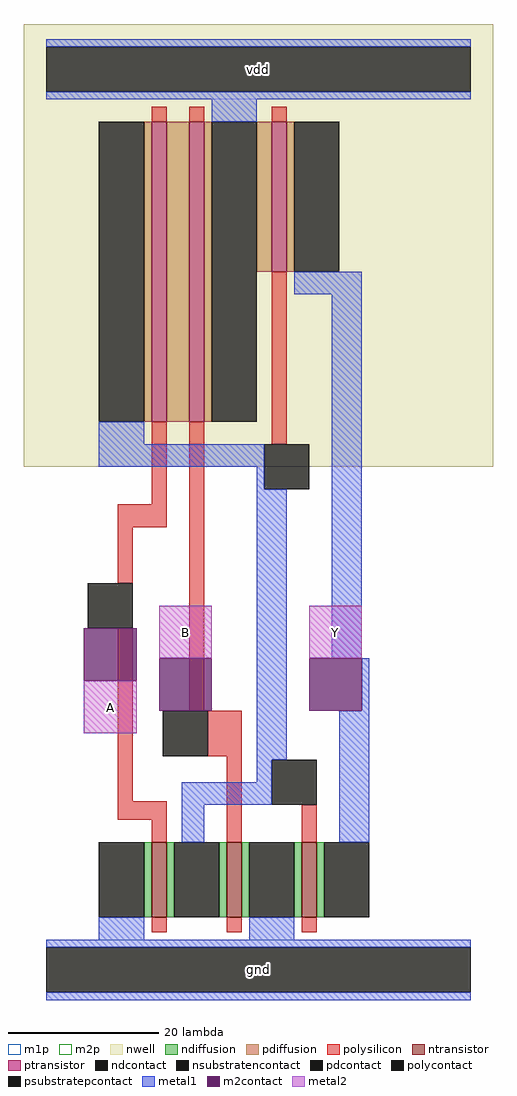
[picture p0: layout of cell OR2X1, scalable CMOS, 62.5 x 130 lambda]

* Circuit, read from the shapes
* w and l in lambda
.subckt OR2X1 A B Y vdd gnd
M1 n1 A gnd gnd nfet w=10 l=2
M2 gnd B n1 gnd nfet w=10 l=2
M3 Y n1 gnd gnd nfet w=10 l=2
M4 n2 A n1 vdd pfet w=40 l=2
M5 vdd B n2 vdd pfet w=40 l=2
M6 Y n1 vdd vdd pfet w=20 l=2
.ends

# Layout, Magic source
magic
tech scmos
magscale 1 2
<< nwell >>
rect -13 134 112 252
<< ntransistor >>
rect 21 14 25 34
rect 41 14 45 34
rect 61 14 65 34
<< ptransistor >>
rect 21 146 25 226
rect 31 146 35 226
rect 53 186 57 226
<< ndiffusion >>
rect 19 14 21 34
rect 25 14 27 34
rect 39 14 41 34
rect 45 14 47 34
rect 59 14 61 34
rect 65 14 67 34
<< pdiffusion >>
rect 19 146 21 226
rect 25 146 31 226
rect 35 146 37 226
rect 49 186 53 226
rect 57 186 59 226
<< ndcontact >>
rect 7 14 19 34
rect 27 14 39 34
rect 47 14 59 34
rect 67 14 79 34
<< pdcontact >>
rect 7 146 19 226
rect 37 146 49 226
rect 59 186 71 226
<< psubstratepcontact >>
rect -7 -6 106 6
<< nsubstratencontact >>
rect -7 234 106 246
<< polysilicon >>
rect 21 226 25 230
rect 31 226 35 230
rect 53 226 57 230
rect 21 124 25 146
rect 12 118 25 124
rect 12 103 16 118
rect 12 45 16 91
rect 31 69 35 146
rect 53 140 57 186
rect 36 57 45 69
rect 12 40 25 45
rect 21 34 25 40
rect 41 34 45 57
rect 61 34 65 44
rect 21 10 25 14
rect 41 10 45 14
rect 61 10 65 14
<< polycontact >>
rect 4 91 16 103
rect 51 128 63 140
rect 24 57 36 69
rect 53 44 65 56
<< metal1 >>
rect -7 246 106 248
rect -7 232 106 234
rect 37 226 49 232
rect 59 180 77 186
rect 7 140 19 146
rect 7 134 51 140
rect 49 128 51 134
rect 49 56 57 128
rect 69 83 77 180
rect 77 69 79 83
rect 49 50 53 56
rect 29 44 53 50
rect 29 34 35 44
rect 71 34 79 69
rect 7 8 19 14
rect 47 8 59 14
rect -7 6 106 8
rect -7 -8 106 -6
<< m2contact >>
rect 3 77 17 91
rect 23 69 37 83
rect 63 69 77 83
<< metal2 >>
rect 3 63 17 77
rect 23 83 37 97
rect 63 83 77 97
<< m1p >>
rect -7 232 106 248
rect -7 -8 106 8
<< m2p >>
rect 23 83 37 97
rect 63 83 77 97
rect 3 63 17 77
<< labels >>
rlabel metal1 -7 -8 106 8 0 gnd
port 4 nsew ground bidirectional abutment
rlabel metal1 -7 232 106 248 0 vdd
port 3 nsew power bidirectional abutment
rlabel metal2 3 63 17 77 0 A
port 0 nsew signal input
rlabel metal2 63 83 77 97 0 Y
port 2 nsew signal output
rlabel metal2 23 83 37 97 0 B
port 1 nsew signal input
<< properties >>
string FIXED_BBOX 0 0 100 240
string LEFclass CORE
string LEFsite core
string LEFsymmetry X Y
<< end >>
